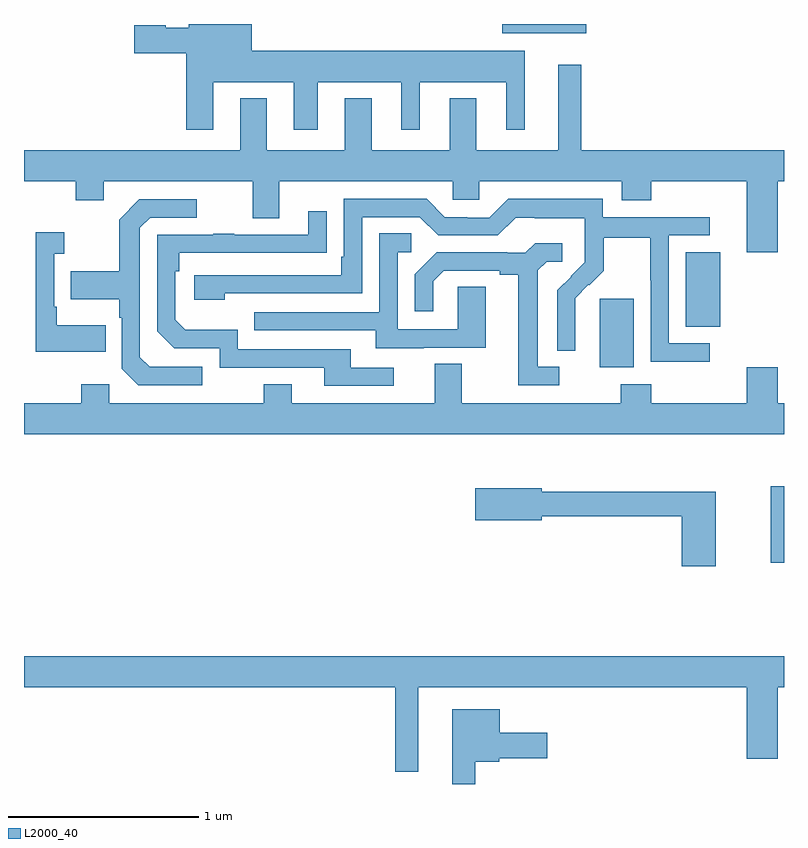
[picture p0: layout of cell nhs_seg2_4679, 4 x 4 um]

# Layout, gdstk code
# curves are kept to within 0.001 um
import gdstk
lib = gdstk.Library(unit=1e-6, precision=1e-09)
def R(c, l, rs):  # rectangles x0, y0, x1, y1
    for r in rs: c.add(gdstk.rectangle(r[:2], r[2:], *l))
def P(c, l, *ps):  # polygons
    for p in ps: c.add(gdstk.Polygon(p, *l))
L2000_40 = (2000, 40)

nhs_seg2_4679 = lib.new_cell('nhs_seg2_4679')
R(nhs_seg2_4679, L2000_40, [(368.929,642.965,369,643.366), (368.03,643.994,368.209,644.355), (368.483,644.206,368.665,644.599), (367.518,645.752,367.96,645.8)])
P(nhs_seg2_4679, L2000_40, [(365.995,645.494),(366.419,645.494),(366.419,645.243),(366.547,645.243),(366.547,645.494),(366.986,645.494),(366.986,645.243),(367.084,645.243),(367.084,645.494),(367.538,645.494),(367.538,645.243),(367.636,645.243),(367.636,645.658),(366.199,645.658),(366.199,645.8),(365.867,645.8),(365.867,645.781),(365.747,645.781),(365.747,645.794),(365.58,645.794),(365.58,645.647),(365.855,645.647),(365.855,645.243),(365.995,645.243)],
  [(368.968,644.972),(369,644.972),(369,645.136),(367.933,645.136),(367.933,645.586),(367.811,645.586),(367.811,645.136),(367.381,645.136),(367.381,645.409),(367.241,645.409),(367.241,645.136),(366.829,645.136),(366.829,645.409),(366.689,645.409),(366.689,645.136),(366.277,645.136),(366.277,645.409),(366.137,645.409),(366.137,645.136),(365,645.136),(365,644.972),(365.272,644.972),(365.272,644.873),(365.419,644.873),(365.419,644.972),(366.203,644.972),(366.203,644.778),(366.343,644.778),(366.343,644.972),(367.257,644.972),(367.257,644.874),(367.395,644.874),(367.395,644.972),(368.147,644.972),(368.147,644.873),(368.3,644.873),(368.3,644.972),(368.804,644.972),(368.804,644.598),(368.968,644.598)],
  [(368.608,644.121),(368.394,644.121),(368.394,644.688),(368.608,644.688),(368.608,644.784),(368.046,644.784),(368.046,644.881),(367.549,644.881),(367.449,644.781),(367.334,644.781),(367.334,644.784),(367.215,644.784),(367.119,644.88),(366.684,644.88),(366.684,644.575),(366.671,644.575),(366.671,644.478),(365.895,644.478),(365.895,644.348),(366.056,644.348),(366.056,644.382),(366.78,644.382),(366.78,644.784),(367.083,644.784),(367.179,644.688),(367.494,644.688),(367.587,644.781),(367.687,644.781),(367.687,644.777),(367.95,644.777),(367.95,644.643),(367.952,644.643),(367.952,644.546),(367.806,644.398),(367.806,644.08),(367.902,644.08),(367.901,644.357),(367.971,644.427),(367.974,644.424),(368.051,644.501),(368.051,644.676),(368.296,644.676),(368.296,644.452),(368.298,644.452),(368.298,644.023),(368.608,644.023)],
  [(365.938,643.995),(365.661,643.995),(365.61,644.046),(365.61,644.727),(365.664,644.781),(365.908,644.781),(365.908,644.877),(365.607,644.877),(365.502,644.771),(365.502,644.499),(365.245,644.499),(365.245,644.351),(365.502,644.351),(365.502,644.255),(365.514,644.255),(365.514,643.986),(365.601,643.899),(365.938,643.899)],
  [(366.946,643.992),(366.721,643.992),(366.721,644.088),(366.126,644.088),(366.126,644.191),(365.849,644.191),(365.796,644.244),(365.796,644.498),(365.816,644.498),(365.816,644.595),(366.593,644.596),(366.593,644.815),(366.497,644.815),(366.497,644.691),(366.107,644.691),(366.107,644.696),(365.995,644.696),(365.995,644.691),(365.7,644.691),(365.7,644.184),(365.79,644.094),(366.03,644.094),(366.03,643.992),(366.581,643.992),(366.581,643.896),(366.946,643.896)],
  [(365.429,644.215),(365.173,644.215),(365.173,644.311),(365.16,644.311),(365.16,644.591),(365.212,644.591),(365.212,644.704),(365.063,644.704),(365.063,644.075),(365.429,644.075)],
  [(367.105,644.097),(367.429,644.097),(367.429,644.417),(367.284,644.417),(367.284,644.193),(366.966,644.193),(366.966,644.598),(367.039,644.598),(367.039,644.699),(366.87,644.699),(366.87,644.283),(366.211,644.283),(366.211,644.187),(366.851,644.187),(366.851,644.093),(367.105,644.093)],
  [(367.816,643.995),(367.705,643.995),(367.705,644.503),(367.752,644.55),(367.834,644.55),(367.834,644.647),(367.69,644.647),(367.638,644.595),(367.544,644.595),(367.544,644.598),(367.172,644.598),(367.056,644.482),(367.056,644.289),(367.153,644.289),(367.153,644.445),(367.21,644.502),(367.505,644.502),(367.505,644.48),(367.601,644.48),(367.601,643.899),(367.816,643.899)],
  [(369,643.804),(368.968,643.804),(368.968,643.993),(368.804,643.993),(368.804,643.804),(368.3,643.804),(368.3,643.903),(368.14,643.903),(368.14,643.804),(367.303,643.804),(367.303,644.012),(367.163,644.012),(367.163,643.804),(366.409,643.804),(366.409,643.903),(366.262,643.903),(366.262,643.804),(365.448,643.804),(365.448,643.903),(365.302,643.903),(365.302,643.804),(365,643.804),(365,643.64),(369,643.64)],
  [(368.64,643.339),(367.726,643.339),(367.726,643.357),(367.374,643.357),(367.374,643.187),(367.726,643.187),(367.726,643.21),(368.462,643.21),(368.462,642.945),(368.64,642.945)],
  [(367.075,642.308),(368.804,642.308),(368.804,641.934),(368.968,641.934),(368.968,642.308),(369,642.308),(369,642.472),(365,642.472),(365,642.308),(366.954,642.308),(366.954,641.864),(367.075,641.864)],
  [(367.375,641.918),(367.5,641.918),(367.5,641.936),(367.753,641.936),(367.753,642.07),(367.504,642.07),(367.504,642.193),(367.253,642.193),(367.253,641.8),(367.375,641.8)])

lib.write_gds('nhs_seg2_4679.gds')
